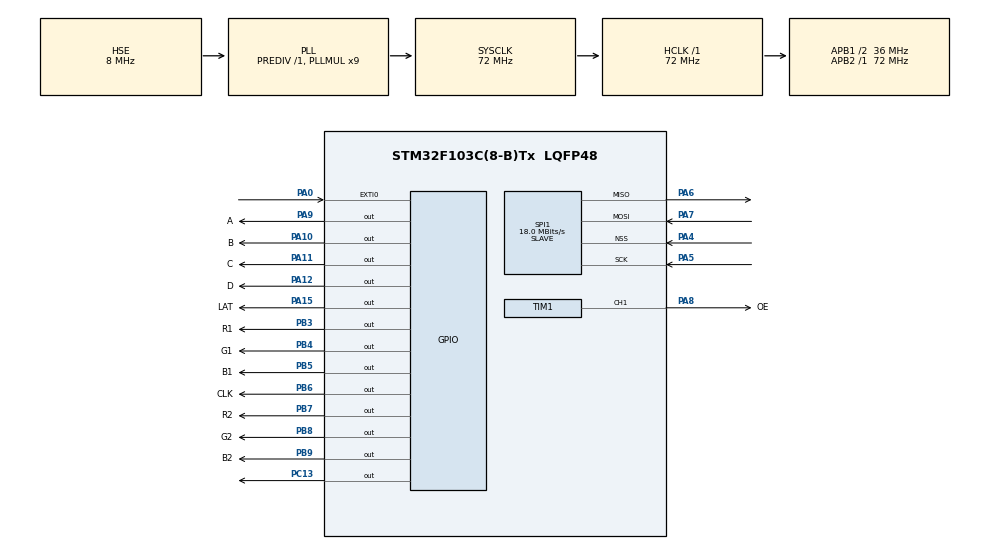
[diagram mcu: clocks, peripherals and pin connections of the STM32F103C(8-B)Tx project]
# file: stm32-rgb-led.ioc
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Mcu.Family=STM32F1
Mcu.Name=STM32F103C(8-B)Tx
Mcu.Package=LQFP48
NVIC.EXTI0_IRQn=true\:1\:0\:true\:false\:true\:true
NVIC.PriorityGroup=NVIC_PRIORITYGROUP_4
NVIC.SPI1_IRQn=true\:0\:0\:true\:false\:true\:true
PA0-WKUP.Signal=GPXTI0
PA10.GPIO_Label=B
PA10.GPIO_ModeDefaultOutputPP=GPIO_MODE_OUTPUT_PP
PA10.GPIO_Speed=GPIO_SPEED_FREQ_HIGH
PA10.PinState=GPIO_PIN_RESET
PA10.Signal=GPIO_Output
PA11.GPIO_Label=C
PA11.GPIO_ModeDefaultOutputPP=GPIO_MODE_OUTPUT_PP
PA11.GPIO_Speed=GPIO_SPEED_FREQ_HIGH
PA11.PinState=GPIO_PIN_RESET
PA11.Signal=GPIO_Output
PA12.GPIO_Label=D
PA12.GPIO_ModeDefaultOutputPP=GPIO_MODE_OUTPUT_PP
PA12.GPIO_Speed=GPIO_SPEED_FREQ_HIGH
PA12.PinState=GPIO_PIN_RESET
PA12.Signal=GPIO_Output
PA13.Mode=Serial_Wire
PA13.Signal=SYS_JTMS-SWDIO
PA14.Mode=Serial_Wire
PA14.Signal=SYS_JTCK-SWCLK
PA15.GPIO_Label=LAT
PA15.GPIO_ModeDefaultOutputPP=GPIO_MODE_OUTPUT_PP
PA15.GPIO_Speed=GPIO_SPEED_FREQ_HIGH
PA15.PinState=GPIO_PIN_RESET
PA15.Signal=GPIO_Output
PA4.Mode=NSS_Signal_Hard_Input
PA4.Signal=SPI1_NSS
PA5.Mode=Full_Duplex_Slave
PA5.Signal=SPI1_SCK
PA6.Mode=Full_Duplex_Slave
PA6.Signal=SPI1_MISO
PA7.Mode=Full_Duplex_Slave
PA7.Signal=SPI1_MOSI
PA8.GPIO_Label=OE
PA8.GPIO_Speed=GPIO_SPEED_FREQ_HIGH
PA8.Signal=S_TIM1_CH1
PA9.GPIO_Label=A
PA9.GPIO_ModeDefaultOutputPP=GPIO_MODE_OUTPUT_PP
PA9.GPIO_Speed=GPIO_SPEED_FREQ_HIGH
PA9.PinState=GPIO_PIN_RESET
PA9.Signal=GPIO_Output
PB3.GPIO_Label=R1
PB3.GPIO_ModeDefaultOutputPP=GPIO_MODE_OUTPUT_PP
PB3.GPIO_Speed=GPIO_SPEED_FREQ_HIGH
PB3.PinState=GPIO_PIN_RESET
PB3.Signal=GPIO_Output
PB4.GPIO_Label=G1
PB4.GPIO_ModeDefaultOutputPP=GPIO_MODE_OUTPUT_PP
PB4.GPIO_Speed=GPIO_SPEED_FREQ_HIGH
PB4.PinState=GPIO_PIN_RESET
PB4.Signal=GPIO_Output
PB5.GPIO_Label=B1
PB5.GPIO_ModeDefaultOutputPP=GPIO_MODE_OUTPUT_PP
PB5.GPIO_Speed=GPIO_SPEED_FREQ_HIGH
PB5.PinState=GPIO_PIN_RESET
PB5.Signal=GPIO_Output
PB6.GPIO_Label=CLK
PB6.GPIO_ModeDefaultOutputPP=GPIO_MODE_OUTPUT_PP
PB6.GPIO_Speed=GPIO_SPEED_FREQ_HIGH
PB6.PinState=GPIO_PIN_RESET
PB6.Signal=GPIO_Output
PB7.GPIO_Label=R2
PB7.GPIO_ModeDefaultOutputPP=GPIO_MODE_OUTPUT_PP
PB7.GPIO_Speed=GPIO_SPEED_FREQ_HIGH
PB7.PinState=GPIO_PIN_RESET
PB7.Signal=GPIO_Output
PB8.GPIO_Label=G2
PB8.GPIO_ModeDefaultOutputPP=GPIO_MODE_OUTPUT_PP
PB8.GPIO_Speed=GPIO_SPEED_FREQ_HIGH
PB8.PinState=GPIO_PIN_RESET
PB8.Signal=GPIO_Output
PB9.GPIO_Label=B2
PB9.GPIO_ModeDefaultOutputPP=GPIO_MODE_OUTPUT_PP
PB9.GPIO_Speed=GPIO_SPEED_FREQ_HIGH
PB9.PinState=GPIO_PIN_RESET
PB9.Signal=GPIO_Output
PC13-TAMPER-RTC.GPIO_Speed=GPIO_SPEED_FREQ_HIGH
PC13-TAMPER-RTC.Signal=GPIO_Output
PD0-OSC_IN.Mode=HSE-External-Oscillator
PD0-OSC_IN.Signal=RCC_OSC_IN
PD1-OSC_OUT.Mode=HSE-External-Oscillator
PD1-OSC_OUT.Signal=RCC_OSC_OUT
ProjectManager.HeapSize=0x200
ProjectManager.StackSize=0x400
ProjectManager.TargetToolchain=Makefile
RCC.AHBFreq_Value=72000000
RCC.APB1CLKDivider=RCC_HCLK_DIV2
RCC.APB1Freq_Value=36000000
RCC.APB1TimFreq_Value=72000000
RCC.APB2Freq_Value=72000000
RCC.APB2TimFreq_Value=72000000
RCC.HCLKFreq_Value=72000000
RCC.PLLMUL=RCC_PLL_MUL9
RCC.PLLSourceVirtual=RCC_PLLSOURCE_HSE
RCC.SYSCLKFreq_VALUE=72000000
RCC.SYSCLKSource=RCC_SYSCLKSOURCE_PLLCLK
RCC.USBFreq_Value=72000000
SH.S_TIM1_CH1.0=TIM1_CH1,PWM Generation1 CH1
SPI1.BaudRatePrescaler=SPI_BAUDRATEPRESCALER_4
SPI1.CalculateBaudRate=18.0 MBits/s
SPI1.Direction=SPI_DIRECTION_2LINES
SPI1.Mode=SPI_MODE_SLAVE
SPI1.VirtualNSS=VM_NSSHARD
SPI1.VirtualType=VM_SLAVE
TIM1.AutoReloadPreload=TIM_AUTORELOAD_PRELOAD_ENABLE
TIM1.BreakPolarity=TIM_BREAKPOLARITY_LOW
TIM1.BreakState=TIM_BREAK_DISABLE
TIM1.Channel-PWM\ Generation1\ CH1=TIM_CHANNEL_1
TIM1.CounterMode=TIM_COUNTERMODE_DOWN
TIM1.OCIdleState_1=TIM_OCIDLESTATE_RESET
TIM1.OCMode_PWM-PWM\ Generation1\ CH1=TIM_OCMODE_PWM1
TIM1.OCPolarity_1=TIM_OCPOLARITY_HIGH
TIM1.Period=65535
TIM1.Prescaler=0
TIM1.Pulse-PWM\ Generation1\ CH1=0
TIM1.RepetitionCounter=0
VP_TIM1_VS_ClockSourceINT.Mode=Internal
VP_TIM1_VS_OPM.Mode=OPM_bit
board=stm32-rgb-led

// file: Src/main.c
/**
  ******************************************************************************
  * @file           : main.c
  * @brief          : Main program body
  ******************************************************************************
  ** This notice applies to any and all portions of this file
  * that are not between comment pairs USER CODE BEGIN and
  * USER CODE END. Other portions of this file, whether
  * inserted by the user or by software development tools
  * are owned by their respective copyright owners.
  *
  * COPYRIGHT(c) 2018 STMicroelectronics
  *
  * Redistribution and use in source and binary forms, with or without modification,
  * are permitted provided that the following conditions are met:
  *   1. Redistributions of source code must retain the above copyright notice,
  *      this list of conditions and the following disclaimer.
  *   2. Redistributions in binary form must reproduce the above copyright notice,
  *      this list of conditions and the following disclaimer in the documentation
  *      and/or other materials provided with the distribution.
  *   3. Neither the name of STMicroelectronics nor the names of its contributors
  *      may be used to endorse or promote products derived from this software
  *      without specific prior written permission.
  *
  * THIS SOFTWARE IS PROVIDED BY THE COPYRIGHT HOLDERS AND CONTRIBUTORS "AS IS"
  * AND ANY EXPRESS OR IMPLIED WARRANTIES, INCLUDING, BUT NOT LIMITED TO, THE
  * IMPLIED WARRANTIES OF MERCHANTABILITY AND FITNESS FOR A PARTICULAR PURPOSE ARE
  * DISCLAIMED. IN NO EVENT SHALL THE COPYRIGHT HOLDER OR CONTRIBUTORS BE LIABLE
  * FOR ANY DIRECT, INDIRECT, INCIDENTAL, SPECIAL, EXEMPLARY, OR CONSEQUENTIAL
  * DAMAGES (INCLUDING, BUT NOT LIMITED TO, PROCUREMENT OF SUBSTITUTE GOODS OR
  * SERVICES; LOSS OF USE, DATA, OR PROFITS; OR BUSINESS INTERRUPTION) HOWEVER
  * CAUSED AND ON ANY THEORY OF LIABILITY, WHETHER IN CONTRACT, STRICT LIABILITY,
  * OR TORT (INCLUDING NEGLIGENCE OR OTHERWISE) ARISING IN ANY WAY OUT OF THE USE
  * OF THIS SOFTWARE, EVEN IF ADVISED OF THE POSSIBILITY OF SUCH DAMAGE.
  *
  ******************************************************************************
  */
#include "main.h"
#include "stm32f1xx_hal.h"

/* USER CODE BEGIN Includes */
#include "rgb_out.h"
#include "m_driver_stm32f1xx.h"
#include "default_fbs.h"
/* USER CODE END Includes */

SPI_HandleTypeDef hspi1;

TIM_HandleTypeDef htim1;

/* USER CODE BEGIN PV */
/* Private variables ---------------------------------------------------------*/

/* USER CODE END PV */

void SystemClock_Config(void);
static void MX_GPIO_Init(void);
static void MX_SPI1_Init(void);
static void MX_TIM1_Init(void);

void HAL_TIM_MspPostInit(TIM_HandleTypeDef *htim);

/* USER CODE BEGIN PFP */
/* Private function prototypes -----------------------------------------------*/

/* USER CODE END PFP */

/* USER CODE BEGIN 0 */

uint8_t fb0[NDATA];
uint8_t fb1[NDATA];

uint8_t * active_fb = fb0;

/* USER CODE END 0 */

int main(void)
{

  /* MCU Configuration----------------------------------------------------------*/

  /* Reset of all peripherals, Initializes the Flash interface and the Systick. */
  HAL_Init();

  /* Configure the system clock */
  SystemClock_Config();

  /* Initialize all configured peripherals */
  MX_GPIO_Init();
  MX_SPI1_Init();
  MX_TIM1_Init();
  /* USER CODE BEGIN 2 */
  get_default_fb(0, fb0);
  get_default_fb(1, fb1);

  RGB_A(OUT_OFF);
  RGB_B(OUT_OFF);
  RGB_C(OUT_OFF);
  RGB_D(OUT_OFF);

  RGB_R1(OUT_OFF);
  RGB_G1(OUT_OFF);
  RGB_B1(OUT_OFF);

  RGB_R2(OUT_OFF);
  RGB_G2(OUT_OFF);
  RGB_B2(OUT_OFF);

  RGB_CLK(OUT_OFF);
  RGB_OE(OUT_OFF);
  RGB_LAT(OUT_OFF);

  TEST(OUT_ON);

  /* USER CODE END 2 */

  /* Infinite loop */
  while (1)
  {

  /* USER CODE BEGIN 3 */

    uint8_t row = 0;
    for(uint8_t r = 0; r < NROWS/2; r++){
      row = ((r<<1)&15)+((r&8)>>3); // Interlace
      for(uint8_t depth_bit = 0; depth_bit < NBIT; depth_bit++){
        uint8_t mask1 = 128 >> depth_bit;
        uint8_t mask2 = 8 >> depth_bit;
        for(uint8_t col = 0; col < NCOLS; col++){
          const uint8_t * pixel = active_fb+(3*(col + row * NCOLS));
          clock_pixel(pixel[0] & mask1,
            pixel[1] & mask1,
            pixel[2] & mask1,
            pixel[0] & mask2,
            pixel[1] & mask2,
            pixel[2] & mask2
            );
        }

        if(depth_bit == 0)
          clock_row(row);

        oe_pulse_wait();
        clock_latch();
        oe_pulse(255>>depth_bit);
      }
    }
  }
  /* USER CODE END 3 */

}

void SystemClock_Config(void)
{

  RCC_OscInitTypeDef RCC_OscInitStruct;
  RCC_ClkInitTypeDef RCC_ClkInitStruct;

    /**Initializes the CPU, AHB and APB busses clocks
    */
  RCC_OscInitStruct.OscillatorType = RCC_OSCILLATORTYPE_HSE;
  RCC_OscInitStruct.HSEState = RCC_HSE_ON;
  RCC_OscInitStruct.HSEPredivValue = RCC_HSE_PREDIV_DIV1;
  RCC_OscInitStruct.HSIState = RCC_HSI_ON;
  RCC_OscInitStruct.PLL.PLLState = RCC_PLL_ON;
  RCC_OscInitStruct.PLL.PLLSource = RCC_PLLSOURCE_HSE;
  RCC_OscInitStruct.PLL.PLLMUL = RCC_PLL_MUL9;
  if (HAL_RCC_OscConfig(&RCC_OscInitStruct) != HAL_OK)
  {
    _Error_Handler(__FILE__, __LINE__);
  }

    /**Initializes the CPU, AHB and APB busses clocks
    */
  RCC_ClkInitStruct.ClockType = RCC_CLOCKTYPE_HCLK|RCC_CLOCKTYPE_SYSCLK
                              |RCC_CLOCKTYPE_PCLK1|RCC_CLOCKTYPE_PCLK2;
  RCC_ClkInitStruct.SYSCLKSource = RCC_SYSCLKSOURCE_PLLCLK;
  RCC_ClkInitStruct.AHBCLKDivider = RCC_SYSCLK_DIV1;
  RCC_ClkInitStruct.APB1CLKDivider = RCC_HCLK_DIV2;
  RCC_ClkInitStruct.APB2CLKDivider = RCC_HCLK_DIV1;

  if (HAL_RCC_ClockConfig(&RCC_ClkInitStruct, FLASH_LATENCY_2) != HAL_OK)
  {
    _Error_Handler(__FILE__, __LINE__);
  }

    /**Configure the Systick interrupt time
    */
  HAL_SYSTICK_Config(HAL_RCC_GetHCLKFreq()/1000);

    /**Configure the Systick
    */
  HAL_SYSTICK_CLKSourceConfig(SYSTICK_CLKSOURCE_HCLK);

  /* SysTick_IRQn interrupt configuration */
  HAL_NVIC_SetPriority(SysTick_IRQn, 0, 0);
}

/* SPI1 init function */
static void MX_SPI1_Init(void)
{

  /* SPI1 parameter configuration*/
  hspi1.Instance = SPI1;
  hspi1.Init.Mode = SPI_MODE_SLAVE;
  hspi1.Init.Direction = SPI_DIRECTION_2LINES;
  hspi1.Init.DataSize = SPI_DATASIZE_8BIT;
  hspi1.Init.CLKPolarity = SPI_POLARITY_LOW;
  hspi1.Init.CLKPhase = SPI_PHASE_1EDGE;
  hspi1.Init.NSS = SPI_NSS_HARD_INPUT;
  hspi1.Init.BaudRatePrescaler = SPI_BAUDRATEPRESCALER_4;
  hspi1.Init.FirstBit = SPI_FIRSTBIT_MSB;
  hspi1.Init.TIMode = SPI_TIMODE_DISABLE;
  hspi1.Init.CRCCalculation = SPI_CRCCALCULATION_DISABLE;
  hspi1.Init.CRCPolynomial = 10;
  if (HAL_SPI_Init(&hspi1) != HAL_OK)
  {
    _Error_Handler(__FILE__, __LINE__);
  }

}

/* TIM1 init function */
static void MX_TIM1_Init(void)
{

  TIM_ClockConfigTypeDef sClockSourceConfig;
  TIM_MasterConfigTypeDef sMasterConfig;
  TIM_OC_InitTypeDef sConfigOC;
  TIM_BreakDeadTimeConfigTypeDef sBreakDeadTimeConfig;

  htim1.Instance = TIM1;
  htim1.Init.Prescaler = 0;
  htim1.Init.CounterMode = TIM_COUNTERMODE_DOWN;
  htim1.Init.Period = 65535;
  htim1.Init.ClockDivision = TIM_CLOCKDIVISION_DIV1;
  htim1.Init.RepetitionCounter = 0;
  htim1.Init.AutoReloadPreload = TIM_AUTORELOAD_PRELOAD_ENABLE;
  if (HAL_TIM_Base_Init(&htim1) != HAL_OK)
  {
    _Error_Handler(__FILE__, __LINE__);
  }

  sClockSourceConfig.ClockSource = TIM_CLOCKSOURCE_INTERNAL;
  if (HAL_TIM_ConfigClockSource(&htim1, &sClockSourceConfig) != HAL_OK)
  {
    _Error_Handler(__FILE__, __LINE__);
  }

  if (HAL_TIM_PWM_Init(&htim1) != HAL_OK)
  {
    _Error_Handler(__FILE__, __LINE__);
  }

  if (HAL_TIM_OnePulse_Init(&htim1, TIM_OPMODE_SINGLE) != HAL_OK)
  {
    _Error_Handler(__FILE__, __LINE__);
  }

  sMasterConfig.MasterOutputTrigger = TIM_TRGO_RESET;
  sMasterConfig.MasterSlaveMode = TIM_MASTERSLAVEMODE_DISABLE;
  if (HAL_TIMEx_MasterConfigSynchronization(&htim1, &sMasterConfig) != HAL_OK)
  {
    _Error_Handler(__FILE__, __LINE__);
  }

  sConfigOC.OCMode = TIM_OCMODE_PWM1;
  sConfigOC.Pulse = 0;
  sConfigOC.OCPolarity = TIM_OCPOLARITY_HIGH;
  sConfigOC.OCNPolarity = TIM_OCNPOLARITY_HIGH;
  sConfigOC.OCFastMode = TIM_OCFAST_DISABLE;
  sConfigOC.OCIdleState = TIM_OCIDLESTATE_RESET;
  sConfigOC.OCNIdleState = TIM_OCNIDLESTATE_RESET;
  if (HAL_TIM_PWM_ConfigChannel(&htim1, &sConfigOC, TIM_CHANNEL_1) != HAL_OK)
  {
    _Error_Handler(__FILE__, __LINE__);
  }

  sBreakDeadTimeConfig.OffStateRunMode = TIM_OSSR_DISABLE;
  sBreakDeadTimeConfig.OffStateIDLEMode = TIM_OSSI_DISABLE;
  sBreakDeadTimeConfig.LockLevel = TIM_LOCKLEVEL_OFF;
  sBreakDeadTimeConfig.DeadTime = 0;
  sBreakDeadTimeConfig.BreakState = TIM_BREAK_DISABLE;
  sBreakDeadTimeConfig.BreakPolarity = TIM_BREAKPOLARITY_LOW;
  sBreakDeadTimeConfig.AutomaticOutput = TIM_AUTOMATICOUTPUT_DISABLE;
  if (HAL_TIMEx_ConfigBreakDeadTime(&htim1, &sBreakDeadTimeConfig) != HAL_OK)
  {
    _Error_Handler(__FILE__, __LINE__);
  }

  HAL_TIM_MspPostInit(&htim1);

}

/** Configure pins as
        * Analog
        * Input
        * Output
        * EVENT_OUT
        * EXTI
*/
static void MX_GPIO_Init(void)
{

  GPIO_InitTypeDef GPIO_InitStruct;

  /* GPIO Ports Clock Enable */
  __HAL_RCC_GPIOC_CLK_ENABLE();
  __HAL_RCC_GPIOD_CLK_ENABLE();
  __HAL_RCC_GPIOA_CLK_ENABLE();
  __HAL_RCC_GPIOB_CLK_ENABLE();

  /*Configure GPIO pin Output Level */
  HAL_GPIO_WritePin(GPIOC, GPIO_PIN_13, GPIO_PIN_RESET);

  /*Configure GPIO pin Output Level */
  HAL_GPIO_WritePin(GPIOA, A_Pin|B_Pin|C_Pin|D_Pin
                          |LAT_Pin, GPIO_PIN_RESET);

  /*Configure GPIO pin Output Level */
  HAL_GPIO_WritePin(GPIOB, R1_Pin|G1_Pin|B1_Pin|CLK_Pin
                          |R2_Pin|G2_Pin|B2_Pin, GPIO_PIN_RESET);

  /*Configure GPIO pin : PC13 */
  GPIO_InitStruct.Pin = GPIO_PIN_13;
  GPIO_InitStruct.Mode = GPIO_MODE_OUTPUT_PP;
  GPIO_InitStruct.Speed = GPIO_SPEED_FREQ_HIGH;
  HAL_GPIO_Init(GPIOC, &GPIO_InitStruct);

  /*Configure GPIO pin : PA0 */
  GPIO_InitStruct.Pin = GPIO_PIN_0;
  GPIO_InitStruct.Mode = GPIO_MODE_IT_RISING;
  GPIO_InitStruct.Pull = GPIO_NOPULL;
  HAL_GPIO_Init(GPIOA, &GPIO_InitStruct);

  /*Configure GPIO pins : A_Pin B_Pin C_Pin D_Pin
                           LAT_Pin */
  GPIO_InitStruct.Pin = A_Pin|B_Pin|C_Pin|D_Pin
                          |LAT_Pin;
  GPIO_InitStruct.Mode = GPIO_MODE_OUTPUT_PP;
  GPIO_InitStruct.Speed = GPIO_SPEED_FREQ_HIGH;
  HAL_GPIO_Init(GPIOA, &GPIO_InitStruct);

  /*Configure GPIO pins : R1_Pin G1_Pin B1_Pin CLK_Pin
                           R2_Pin G2_Pin B2_Pin */
  GPIO_InitStruct.Pin = R1_Pin|G1_Pin|B1_Pin|CLK_Pin
                          |R2_Pin|G2_Pin|B2_Pin;
  GPIO_InitStruct.Mode = GPIO_MODE_OUTPUT_PP;
  GPIO_InitStruct.Speed = GPIO_SPEED_FREQ_HIGH;
  HAL_GPIO_Init(GPIOB, &GPIO_InitStruct);

  /* EXTI interrupt init*/
  HAL_NVIC_SetPriority(EXTI0_IRQn, 1, 0);
  HAL_NVIC_EnableIRQ(EXTI0_IRQn);

}

/* USER CODE BEGIN 4 */
void HAL_GPIO_EXTI_Callback(uint16_t GPIO_Pin){
  if (active_fb == fb0){
    active_fb = fb1;
    TEST(OUT_OFF);
  }
  else {
    active_fb = fb0;
    TEST(OUT_ON);
  }
}
/* USER CODE END 4 */

void _Error_Handler(char *file, int line)
{
  while(1)
  {
  }
}

/************************ (C) COPYRIGHT STMicroelectronics *****END OF FILE****/
